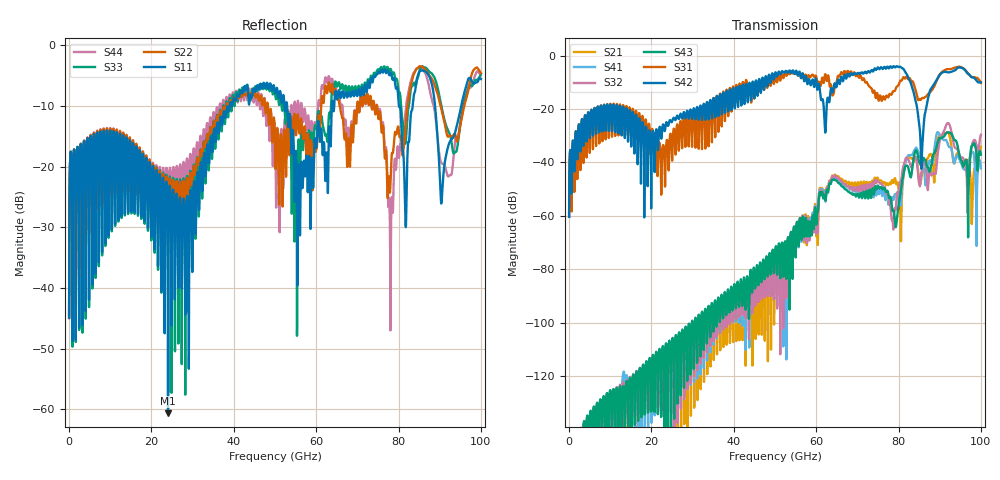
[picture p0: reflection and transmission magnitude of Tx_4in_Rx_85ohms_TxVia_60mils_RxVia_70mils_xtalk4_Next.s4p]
! Info: Touchstone file created by Circ.  Input file=Tx_4in_Rx_85ohms_TxVia_60mils_RxVia_70mils.circ
# Hz S RI R 50
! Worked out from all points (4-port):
!   10000 points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, 10 MHz to 100 GHz, reference 50 ohm
!   strongest paths, dB at 10 MHz, 25.01 GHz, 50.01 GHz, 75.01 GHz, 100 GHz:
!     S42: -60.4, -24.7, -6.7, -4.4, -10.0
!     S31: -60.4, -39.3, -7.9, -15.6, -10.2
!     S43: -159.1, -106.9, -73.6, -48.9, -37.1
!     S32: -194.4, -108.2, -75.3, -47.0, -29.6
!     S41: -160.9, -108.7, -76.4, -48.7, -42.2
!     S21: -195.5, -110.0, -77.8, -46.1, -34.1
!   lowest |S11| = -60.6 dB at 24.03 GHz (marker M1), VSWR 1.00, Z = 50.1 + j0.00432 ohm
!   |S11| at or under -10 dB: start of sweep to 39.02 GHz; 52.95 GHz to 63.82 GHz (10.87 GHz wide, 18.6 % of centre); 88.87 GHz to 95.21 GHz (6.333 GHz wide, 6.88 % of centre) (the widest 3 of 6)
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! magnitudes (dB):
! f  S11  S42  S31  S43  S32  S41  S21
! 10 MHz  -44.9  -60.4  -60.4  -159.1  -194.4  -160.9  -195.5
! 7.34 GHz  -21.3  -28.7  -32.7  -134.4  -135.1  -136.0  -137.0
! 24.03 GHz  -60.6  -26.3  -35.7  -116.6  -121.0  -123.2  -131.0
! 79.93 GHz  -8.5  -4.3  -11.2  -57.1  -52.0  -54.2  -48.8
! 85.6 GHz  -4.2  -39.9  -16.1  -40.9  -43.3  -37.5  -45.1
! 90.47 GHz  -25.7  -6.5  -6.2  -30.8  -30.1  -31.0  -29.6
! 100 GHz  -5.5  -10.0  -10.2  -37.1  -29.6  -42.2  -34.1
